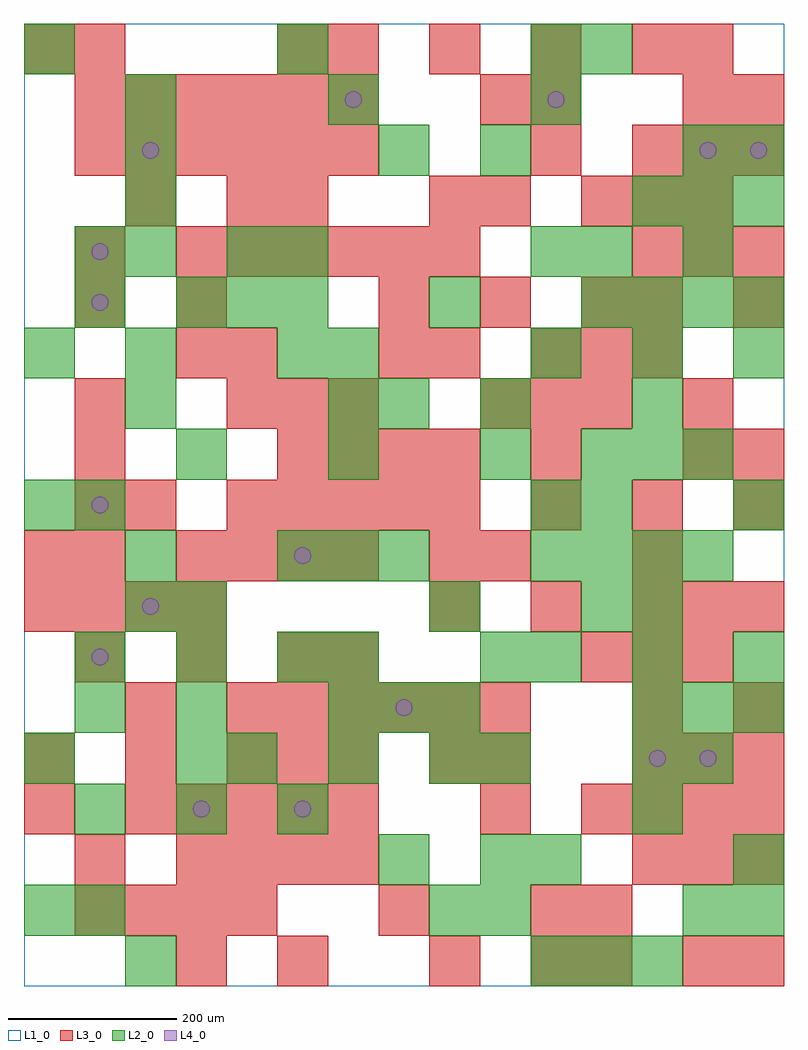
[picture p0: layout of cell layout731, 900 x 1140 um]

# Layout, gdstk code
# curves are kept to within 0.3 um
import gdstk
lib = gdstk.Library(unit=1e-6, precision=1e-09)
def R(c, l, rs):  # rectangles x0, y0, x1, y1
    for r in rs: c.add(gdstk.rectangle(r[:2], r[2:], *l))
def A(c, l, x, y, w, h, nx, ny, dx, dy):  # array of equal rectangles
    R(c, l, [(x+i*dx, y+j*dy, x+i*dx+w, y+j*dy+h) for i in range(nx) for j in range(ny)])
def P(c, l, *ps):  # polygons
    for p in ps: c.add(gdstk.Polygon(p, *l))
L1_0 = (1, 0)
L2_0 = (2, 0)
L3_0 = (3, 0)
L4_0 = (4, 0)

layout731 = lib.new_cell('layout731')
R(layout731, L1_0, [(0,0,900,1140)])
A(layout731, L2_0, 600, 0, 60, 60, 3, 1, 60, 0)
A(layout731, L2_0, 60, 60, 60, 60, 1, 4, 0, 240)
A(layout731, L2_0, 480, 60, 60, 60, 1, 3, 0, 360)
A(layout731, L2_0, 540, 120, 60, 60, 1, 3, 0, 120)
A(layout731, L2_0, 840, 120, 60, 60, 1, 3, 0, 420)
A(layout731, L2_0, 60, 180, 60, 60, 3, 2, 120, 180)
A(layout731, L2_0, 240, 240, 60, 60, 3, 1, 120, 0)
A(layout731, L2_0, 360, 300, 60, 60, 3, 1, 60, 0)
A(layout731, L2_0, 720, 300, 60, 60, 3, 2, 60, 600)
A(layout731, L2_0, 600, 360, 60, 60, 3, 2, 120, 360)
A(layout731, L2_0, 300, 480, 60, 60, 3, 1, 60, 0)
A(layout731, L2_0, 600, 480, 60, 60, 4, 1, 60, 0)
A(layout731, L2_0, 180, 600, 60, 60, 3, 1, 180, 0)
A(layout731, L2_0, 660, 600, 60, 60, 3, 1, 60, 0)
A(layout731, L2_0, 180, 780, 60, 60, 3, 1, 60, 0)
A(layout731, L2_0, 660, 780, 60, 60, 4, 1, 60, 0)
A(layout731, L2_0, 120, 840, 60, 60, 1, 3, 0, 60)
A(layout731, L2_0, 120, 1020, 60, 60, 3, 1, 240, 0)
A(layout731, L2_0, 0, 1080, 60, 60, 3, 1, 300, 0)
R(layout731, L2_0, [(120,0,180,60), (0,60,60,120), (540,60,600,120), (780,60,840,120), (840,60,900,120), (420,120,480,180), (600,120,660,180), (720,180,780,240), (0,240,60,300), (180,240,240,300), (720,240,780,300), (780,240,840,300), (180,300,240,360), (360,360,420,420), (120,420,180,480), (180,420,240,480), (660,420,720,480), (720,420,780,480), (120,480,180,540), (0,540,60,600), (600,540,660,600), (660,540,720,600), (120,660,180,720), (360,660,420,720), (420,660,480,720), (540,660,600,720), (720,660,780,720), (0,720,60,780), (120,720,180,780), (300,720,360,780), (360,720,420,780), (60,840,120,900), (240,840,300,900), (300,840,360,900), (600,840,660,900), (660,840,720,900), (780,840,840,900), (420,960,480,1020), (540,960,600,1020), (780,960,840,1020), (660,1080,720,1140)])
A(layout731, L3_0, 480, 0, 60, 60, 1, 4, 0, 240)
A(layout731, L3_0, 60, 60, 60, 60, 4, 1, 60, 0)
A(layout731, L3_0, 180, 120, 60, 60, 4, 2, 60, 360)
A(layout731, L3_0, 720, 120, 60, 60, 3, 2, 60, 120)
A(layout731, L3_0, 120, 180, 60, 60, 5, 1, 60, 0)
A(layout731, L3_0, 660, 180, 60, 60, 4, 1, 60, 0)
A(layout731, L3_0, 0, 240, 60, 60, 3, 1, 120, 0)
A(layout731, L3_0, 240, 300, 60, 60, 6, 1, 60, 0)
A(layout731, L3_0, 60, 360, 60, 60, 3, 1, 120, 0)
A(layout731, L3_0, 660, 360, 60, 60, 3, 2, 60, 540)
A(layout731, L3_0, 0, 420, 60, 60, 4, 1, 60, 0)
A(layout731, L3_0, 480, 420, 60, 60, 3, 1, 120, 0)
A(layout731, L3_0, 840, 420, 60, 60, 1, 3, 0, 180)
A(layout731, L3_0, 60, 480, 60, 60, 1, 4, 0, 60)
A(layout731, L3_0, 240, 540, 60, 60, 5, 1, 60, 0)
A(layout731, L3_0, 600, 540, 60, 60, 3, 1, 120, 0)
A(layout731, L3_0, 300, 600, 60, 60, 4, 1, 60, 0)
A(layout731, L3_0, 240, 660, 60, 60, 3, 1, 60, 0)
A(layout731, L3_0, 540, 660, 60, 60, 3, 1, 60, 0)
A(layout731, L3_0, 600, 720, 60, 60, 3, 1, 60, 0)
A(layout731, L3_0, 420, 780, 60, 60, 3, 1, 120, 0)
A(layout731, L3_0, 180, 840, 60, 60, 6, 1, 60, 0)
A(layout731, L3_0, 720, 840, 60, 60, 3, 2, 60, 120)
A(layout731, L3_0, 60, 960, 60, 60, 6, 2, 60, 60)
A(layout731, L3_0, 360, 1080, 60, 60, 4, 1, 120, 0)
R(layout731, L3_0, [(180,0,240,60), (300,0,360,60), (600,0,660,60), (660,0,720,60), (780,0,840,60), (840,0,900,60), (420,60,480,120), (600,60,660,120), (660,60,720,120), (60,120,120,180), (0,180,60,240), (540,180,600,240), (300,240,360,300), (360,240,420,300), (540,240,600,300), (120,300,180,360), (720,300,780,360), (840,300,900,360), (360,360,420,420), (780,420,840,480), (0,480,60,540), (540,480,600,540), (720,480,780,540), (120,540,180,600), (600,600,660,660), (780,600,840,660), (780,660,840,720), (180,720,240,780), (240,720,300,780), (420,720,480,780), (60,780,120,840), (180,780,240,840), (720,780,780,840), (60,840,120,900), (120,900,180,960), (240,900,300,960), (300,900,360,960), (480,900,540,960), (540,900,600,960), (600,960,660,1020), (540,1020,600,1080), (600,1020,660,1080), (780,1020,840,1080), (840,1020,900,1080), (0,1080,60,1140), (60,1080,120,1140), (300,1080,360,1140), (780,1080,840,1140)])
P(layout731, L4_0, [(100,390),(99.239,393.827),(97.071,397.071),(93.827,399.239),(90,400),(86.173,399.239),(82.929,397.071),(80.761,393.827),(80,390),(80.761,386.173),(82.929,382.929),(86.173,380.761),(90,380),(93.827,380.761),(97.071,382.929),(99.239,386.173)],
  [(100,570),(99.239,573.827),(97.071,577.071),(93.827,579.239),(90,580),(86.173,579.239),(82.929,577.071),(80.761,573.827),(80,570),(80.761,566.173),(82.929,562.929),(86.173,560.761),(90,560),(93.827,560.761),(97.071,562.929),(99.239,566.173)],
  [(100,810),(99.239,813.827),(97.071,817.071),(93.827,819.239),(90,820),(86.173,819.239),(82.929,817.071),(80.761,813.827),(80,810),(80.761,806.173),(82.929,802.929),(86.173,800.761),(90,800),(93.827,800.761),(97.071,802.929),(99.239,806.173)],
  [(100,870),(99.239,873.827),(97.071,877.071),(93.827,879.239),(90,880),(86.173,879.239),(82.929,877.071),(80.761,873.827),(80,870),(80.761,866.173),(82.929,862.929),(86.173,860.761),(90,860),(93.827,860.761),(97.071,862.929),(99.239,866.173)],
  [(160,450),(159.239,453.827),(157.071,457.071),(153.827,459.239),(150,460),(146.173,459.239),(142.929,457.071),(140.761,453.827),(140,450),(140.761,446.173),(142.929,442.929),(146.173,440.761),(150,440),(153.827,440.761),(157.071,442.929),(159.239,446.173)],
  [(160,990),(159.239,993.827),(157.071,997.071),(153.827,999.239),(150,1000),(146.173,999.239),(142.929,997.071),(140.761,993.827),(140,990),(140.761,986.173),(142.929,982.929),(146.173,980.761),(150,980),(153.827,980.761),(157.071,982.929),(159.239,986.173)],
  [(220,210),(219.239,213.827),(217.071,217.071),(213.827,219.239),(210,220),(206.173,219.239),(202.929,217.071),(200.761,213.827),(200,210),(200.761,206.173),(202.929,202.929),(206.173,200.761),(210,200),(213.827,200.761),(217.071,202.929),(219.239,206.173)],
  [(340,210),(339.239,213.827),(337.071,217.071),(333.827,219.239),(330,220),(326.173,219.239),(322.929,217.071),(320.761,213.827),(320,210),(320.761,206.173),(322.929,202.929),(326.173,200.761),(330,200),(333.827,200.761),(337.071,202.929),(339.239,206.173)],
  [(340,510),(339.239,513.827),(337.071,517.071),(333.827,519.239),(330,520),(326.173,519.239),(322.929,517.071),(320.761,513.827),(320,510),(320.761,506.173),(322.929,502.929),(326.173,500.761),(330,500),(333.827,500.761),(337.071,502.929),(339.239,506.173)],
  [(400,1050),(399.239,1053.827),(397.071,1057.071),(393.827,1059.239),(390,1060),(386.173,1059.239),(382.929,1057.071),(380.761,1053.827),(380,1050),(380.761,1046.173),(382.929,1042.929),(386.173,1040.761),(390,1040),(393.827,1040.761),(397.071,1042.929),(399.239,1046.173)],
  [(460,330),(459.239,333.827),(457.071,337.071),(453.827,339.239),(450,340),(446.173,339.239),(442.929,337.071),(440.761,333.827),(440,330),(440.761,326.173),(442.929,322.929),(446.173,320.761),(450,320),(453.827,320.761),(457.071,322.929),(459.239,326.173)],
  [(640,1050),(639.239,1053.827),(637.071,1057.071),(633.827,1059.239),(630,1060),(626.173,1059.239),(622.929,1057.071),(620.761,1053.827),(620,1050),(620.761,1046.173),(622.929,1042.929),(626.173,1040.761),(630,1040),(633.827,1040.761),(637.071,1042.929),(639.239,1046.173)],
  [(760,270),(759.239,273.827),(757.071,277.071),(753.827,279.239),(750,280),(746.173,279.239),(742.929,277.071),(740.761,273.827),(740,270),(740.761,266.173),(742.929,262.929),(746.173,260.761),(750,260),(753.827,260.761),(757.071,262.929),(759.239,266.173)],
  [(820,270),(819.239,273.827),(817.071,277.071),(813.827,279.239),(810,280),(806.173,279.239),(802.929,277.071),(800.761,273.827),(800,270),(800.761,266.173),(802.929,262.929),(806.173,260.761),(810,260),(813.827,260.761),(817.071,262.929),(819.239,266.173)],
  [(820,990),(819.239,993.827),(817.071,997.071),(813.827,999.239),(810,1000),(806.173,999.239),(802.929,997.071),(800.761,993.827),(800,990),(800.761,986.173),(802.929,982.929),(806.173,980.761),(810,980),(813.827,980.761),(817.071,982.929),(819.239,986.173)],
  [(880,990),(879.239,993.827),(877.071,997.071),(873.827,999.239),(870,1000),(866.173,999.239),(862.929,997.071),(860.761,993.827),(860,990),(860.761,986.173),(862.929,982.929),(866.173,980.761),(870,980),(873.827,980.761),(877.071,982.929),(879.239,986.173)])

lib.write_gds('layout731.gds')
